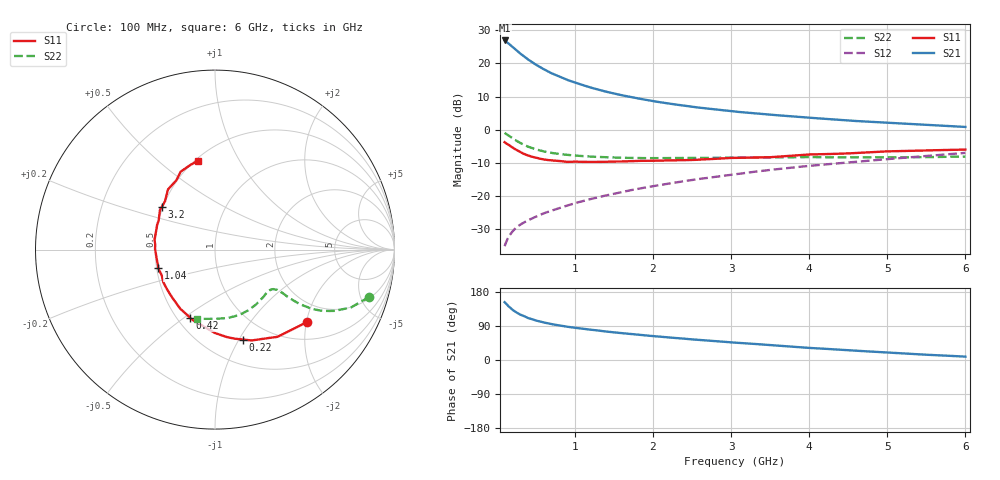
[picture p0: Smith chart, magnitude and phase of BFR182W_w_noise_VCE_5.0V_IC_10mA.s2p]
! Infineon Technologies  Discrete & RF Semiconductors
! BFR182W
! VCE =  5.0 V,  IC =  10 mA
! Common Emitter S-Parameters:  Nov 2015
# GHz  S  MA  R  50
!  f  S11  S21  S12  S22
! GHz  MAG  ANG  MAG  ANG  MAG  ANG  MAG  ANG
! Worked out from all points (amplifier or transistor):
!   192 points, 100 MHz to 6 GHz, reference 50 ohm
!   highest |S21| = 26.9 dB at 100 MHz (marker M1)
!   |S21| within 3 dB of that: start of sweep to 253.9 MHz
!   unconditionally stable (mu >= 1): 1.087 GHz to 2.778 GHz
!   at 440 MHz: K = 0.71, MSG = 23.7 dB, |S12| = -26.8 dB
!   at 1.7 GHz: K = 1.05, MAG = 12.7 dB, |S12| = -18.3 dB
!   at 6 GHz: K = 0.79, MSG = 3.9 dB, |S12| = -6.9 dB
!   lowest NFmin = 1.50 dB at 450 MHz
!   S11 on the Smith chart (normalised r, x): 100 MHz: 1.44, -2.02; 220 MHz: 0.75, -1.04; 420 MHz: 0.58, -0.53; 1.04 GHz: 0.51, -0.12; 3.2 GHz: 0.49, +0.28; 6 GHz: 0.52, +0.69
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0.1  0.6533 -38.1  22.24 152.7  0.0177 73.0  0.8981 -17.1
0.15  0.5981 -54.3  20.02 141.7  0.0244 67.6  0.8242 -23.0
0.2  0.546 -68.0  17.86 132.7  0.0294 64.0  0.7518 -27.0
0.22  0.5255 -72.6  17.04 130.1  0.0312 63.2  0.7257 -28.1
0.26  0.4932 -81.9  15.52 124.5  0.0347 61.7  0.6769 -30.1
0.3  0.4651 -89.9  14.15 119.8  0.0374 60.3  0.6362 -31.4
0.4  0.4117 -107.4  11.5 110.7  0.0434 59.4  0.5582 -32.8
0.42  0.4042 -109.9  11.11 109.6  0.0445 59.6  0.5482 -32.8
0.5  0.3821 -120.5  9.608 104.2  0.0491 60.3  0.508 -33.0
0.6  0.3588 -131.3  8.213 99.1  0.0552 61.2  0.4737 -33.0
0.7  0.3474 -139.9  7.135 94.7  0.0606 62.6  0.4502 -32.7
0.9  0.3293 -154.4  5.666 87.9  0.0723 64.4  0.42 -32.6
1.04  0.331 -162.2  4.991 84.0  0.0809 65.5  0.4074 -33.2
1.1  0.3296 -165.0  4.744 82.6  0.0845 65.8  0.4028 -33.4
1.2  0.3291 -169.7  4.34 79.8  0.0907 66.4  0.3951 -33.8
1.5  0.3341 179.5  3.529 72.9  0.1092 67.4  0.3829 -35.9
2.08  0.3437 162.5  2.621 61.7  0.1471 67.9  0.3754 -41.4
3.1  0.379 142.6  1.862 45.2  0.2183 65.8  0.3821 -55.0
3.2  0.3806 140.9  1.818 43.8  0.226 65.4  0.3825 -56.6
4.1  0.4282 126.1  1.496 30.8  0.2939 61.2  0.3877 -71.7
5.1  0.477 112.3  1.264 18.4  0.3705 55.6  0.3855 -89.8
6  0.5048 100.8  1.107 8.9  0.4498 50.0  0.3971 -104.4
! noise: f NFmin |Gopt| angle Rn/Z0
0.45  1.5  0.26  43  0.28
0.9  1.6  0.24  87  0.22
1.8  2.1  0.2  170  0.2
